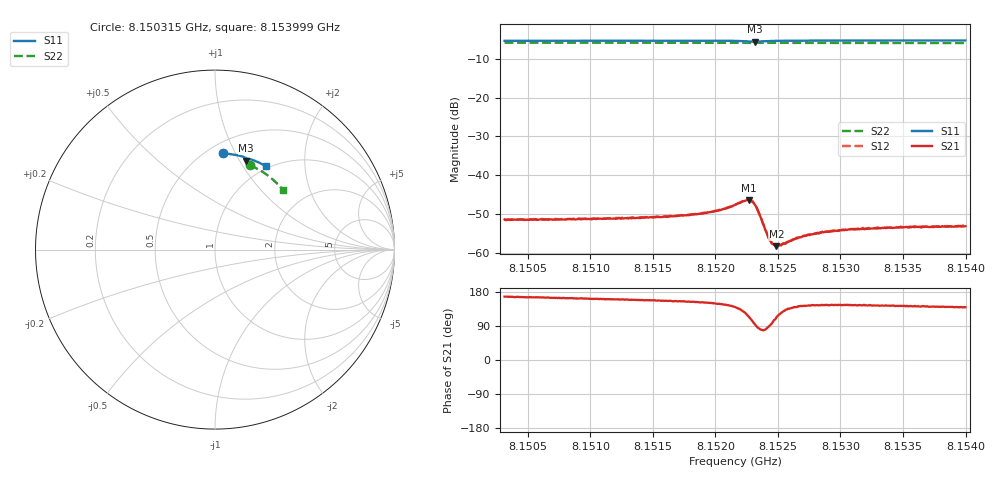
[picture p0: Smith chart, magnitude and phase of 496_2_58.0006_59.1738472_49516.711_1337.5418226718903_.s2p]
#  HZ  S  RI  R  50.00
! Rohde & Schwarz Vector Network Analyzer
! Rohde-Schwarz,ZNB20-2Port,1311601062101988,3.16
! Created: UTC 3/21/2024, 1:12:29 AM
! freq[Hz]  re:S11  im:S11  re:S21  im:S21  re:S12  im:S12  re:S22  im:S22
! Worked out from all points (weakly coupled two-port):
!   401 points, 8.150315 GHz to 8.153999 GHz, reference 50 ohm
!   highest |S21| = -46.44 dB at 8.152267 GHz (marker M1); lowest = -58.3 dB at 8.152488 GHz (marker M2)
!   lowest |S11| = -5.6 dB at 8.152313 GHz (marker M3), VSWR 3.21, Z = 39.1 + j53.4 ohm
!   |S11| at or under -10 dB: nowhere
!   |S22| runs from -6.0 to -5.9 dB; largest |S21 - S12| = 0.00014
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8.1503147e9  0.0447 0.5367  -0.0026 0.000599  -0.00258 0.000613  0.195 0.4708
8.1509318e9  0.0877 0.5324  -0.00258 0.000796  -0.0026 0.000872  0.2306 0.4535
8.1515489e9  0.1305 0.5245  -0.00266 0.00113  -0.00263 0.00115  0.2646 0.4334
8.1517608e9  0.1454 0.5207  -0.00272 0.00133  -0.00273 0.00135  0.2758 0.426
8.1519082e9  0.1561 0.5175  -0.00284 0.00153  -0.00286 0.00158  0.2837 0.4206
8.1520279e9  0.1652 0.5141  -0.00298 0.00183  -0.00301 0.0019  0.29 0.416
8.1521569e9  0.1753 0.5079  -0.00316 0.00267  -0.00311 0.00273  0.2965 0.411
8.1522306e9  0.1793 0.501  -0.00273 0.00373  -0.00274 0.0038  0.3001 0.408
8.1522674e9  0.1786 0.4969  -0.00198 0.00433  -0.00193 0.00438  0.3016 0.4065
8.152295e9  0.1762 0.4949  -0.00103 0.00441  -0.000988 0.00454  0.3028 0.4055
8.1523135e9  0.174 0.4949  -0.000371 0.00418  -0.000283 0.00426  0.3037 0.4048
8.1523503e9  0.1717 0.4984  0.000388 0.00317  0.000455 0.00317  0.3053 0.4035
8.1524056e9  0.1749 0.5037  0.000266 0.00186  0.0003 0.00186  0.3082 0.4016
8.1524332e9  0.1774 0.5051  -1e-05 0.00144  8.09e-06 0.00147  0.3096 0.4006
8.1524608e9  0.1803 0.5056  -0.000244 0.00127  -0.000246 0.00127  0.311 0.3997
8.1524885e9  0.1829 0.506  -0.000467 0.00112  -0.000434 0.00118  0.3125 0.3984
8.1525161e9  0.1856 0.5059  -0.000654 0.00106  -0.00063 0.00107  0.3139 0.3972
8.1526819e9  0.1992 0.5031  -0.00125 0.000955  -0.00126 0.000949  0.3219 0.3904
8.152774e9  0.206 0.5009  -0.00141 0.000992  -0.00141 0.00105  0.3265 0.3866
8.153078e9  0.2266 0.4929  -0.00163 0.00113  -0.00163 0.00119  0.3406 0.3734
8.1533912e9  0.2467 0.4838  -0.00168 0.00125  -0.00167 0.00129  0.3545 0.3597
8.1539991e9  0.2842 0.464  -0.00166 0.00143  -0.00162 0.00145  0.3801 0.3312
